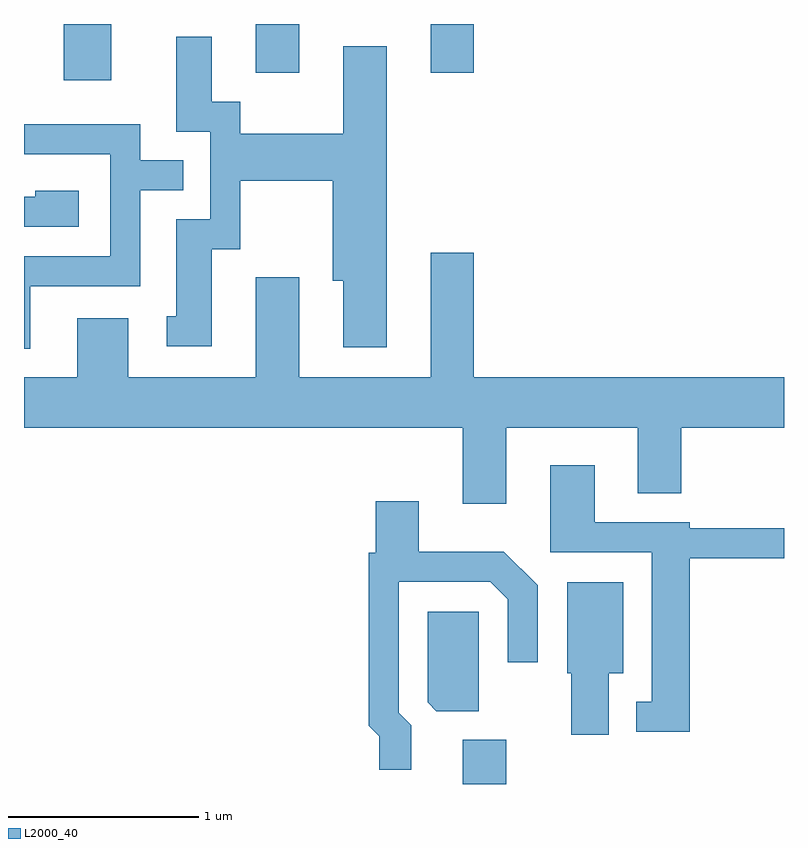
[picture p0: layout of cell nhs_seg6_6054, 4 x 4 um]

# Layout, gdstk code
import gdstk
lib = gdstk.Library(unit=1e-6, precision=1e-09)
def R(c, l, rs):  # rectangles x0, y0, x1, y1
    for r in rs: c.add(gdstk.rectangle(r[:2], r[2:], *l))
def P(c, l, *ps):  # polygons
    for p in ps: c.add(gdstk.Polygon(p, *l))
L2000_40 = (2000, 40)

nhs_seg6_6054 = lib.new_cell('nhs_seg6_6054')
R(nhs_seg6_6054, L2000_40, [(371.921,1548.162,372.149,1548.394), (369.821,1551.866,370.069,1552.162), (370.831,1551.906,371.059,1552.162), (371.751,1551.906,371.979,1552.162)])
P(nhs_seg6_6054, L2000_40, [(371.519,1552.044),(371.291,1552.044),(371.291,1551.584),(370.749,1551.584),(370.749,1551.754),(370.599,1551.754),(370.599,1552.094),(370.411,1552.094),(370.411,1551.596),(370.591,1551.596),(370.591,1551.134),(370.411,1551.134),(370.411,1550.624),(370.363,1550.624),(370.363,1550.466),(370.599,1550.466),(370.599,1550.976),(370.749,1550.976),(370.749,1551.336),(371.236,1551.336),(371.236,1550.811),(371.291,1550.811),(371.291,1550.461),(371.519,1550.461)],
  [(369.644,1550.781),(370.224,1550.781),(370.224,1551.286),(370.448,1551.286),(370.448,1551.444),(370.224,1551.444),(370.224,1551.634),(369.611,1551.634),(369.611,1551.476),(370.066,1551.476),(370.066,1550.939),(369.611,1550.939),(369.611,1550.453),(369.644,1550.453)],
  [(369.899,1551.284),(369.671,1551.284),(369.671,1551.254),(369.611,1551.254),(369.611,1551.096),(369.899,1551.096)],
  [(372.149,1550.036),(372.841,1550.036),(372.841,1549.691),(373.069,1549.691),(373.069,1550.036),(373.611,1550.036),(373.611,1550.304),(371.979,1550.304),(371.979,1550.959),(371.751,1550.959),(371.751,1550.304),(371.059,1550.304),(371.059,1550.829),(370.831,1550.829),(370.831,1550.304),(370.159,1550.304),(370.159,1550.614),(369.891,1550.614),(369.891,1550.304),(369.611,1550.304),(369.611,1550.036),(371.921,1550.036),(371.921,1549.636),(372.149,1549.636)],
  [(373.114,1549.351),(373.611,1549.351),(373.611,1549.509),(373.114,1549.509),(373.114,1549.539),(372.614,1549.539),(372.614,1549.839),(372.381,1549.839),(372.381,1549.381),(372.916,1549.381),(372.916,1548.594),(372.833,1548.594),(372.833,1548.436),(373.114,1548.436)],
  [(371.649,1548.472),(371.584,1548.537),(371.584,1549.226),(372.064,1549.226),(372.156,1549.134),(372.156,1548.803),(372.314,1548.803),(372.314,1549.207),(372.137,1549.384),(371.689,1549.384),(371.689,1549.649),(371.461,1549.649),(371.461,1549.379),(371.426,1549.379),(371.426,1548.469),(371.481,1548.414),(371.481,1548.238),(371.649,1548.238)],
  [(372.689,1548.746),(372.764,1548.746),(372.764,1549.224),(372.471,1549.224),(372.471,1548.746),(372.491,1548.746),(372.491,1548.421),(372.689,1548.421)],
  [(372.004,1549.069),(371.736,1549.069),(371.736,1548.592),(371.782,1548.546),(372.004,1548.546)])

lib.write_gds('nhs_seg6_6054.gds')
